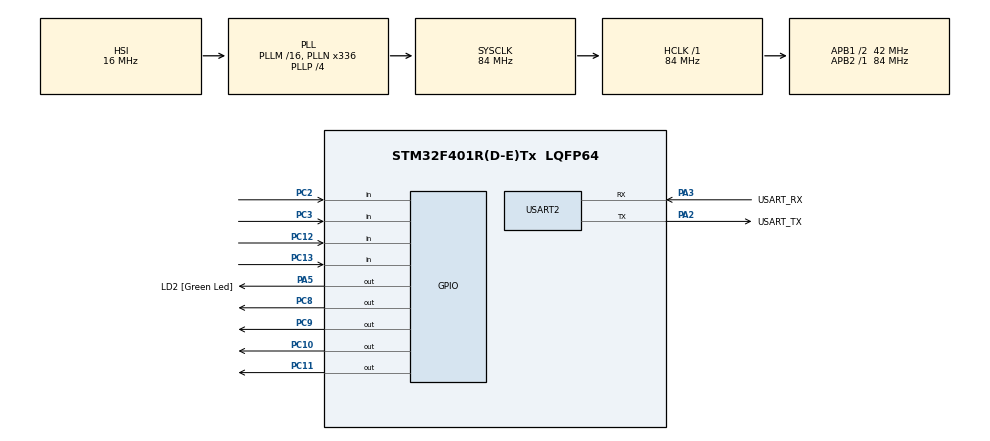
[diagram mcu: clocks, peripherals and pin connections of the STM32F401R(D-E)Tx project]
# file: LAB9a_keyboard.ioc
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Dma.Request0=USART2_TX
Dma.USART2_TX.0.Direction=DMA_MEMORY_TO_PERIPH
Dma.USART2_TX.0.FIFOMode=DMA_FIFOMODE_DISABLE
Dma.USART2_TX.0.Instance=DMA1_Stream6
Dma.USART2_TX.0.MemDataAlignment=DMA_MDATAALIGN_BYTE
Dma.USART2_TX.0.MemInc=DMA_MINC_ENABLE
Dma.USART2_TX.0.Mode=DMA_NORMAL
Dma.USART2_TX.0.PeriphDataAlignment=DMA_PDATAALIGN_BYTE
Dma.USART2_TX.0.PeriphInc=DMA_PINC_DISABLE
Dma.USART2_TX.0.Priority=DMA_PRIORITY_LOW
Mcu.Family=STM32F4
Mcu.Name=STM32F401R(D-E)Tx
Mcu.Package=LQFP64
NVIC.DMA1_Stream6_IRQn=true\:0\:0\:false\:false\:true\:false\:true\:true
NVIC.PriorityGroup=NVIC_PRIORITYGROUP_0
NVIC.USART2_IRQn=true\:0\:0\:false\:false\:true\:true\:true\:true
PA13.GPIO_Label=TMS
PA13.Mode=Serial_Wire
PA13.Signal=SYS_JTMS-SWDIO
PA14.GPIO_Label=TCK
PA14.Mode=Serial_Wire
PA14.Signal=SYS_JTCK-SWCLK
PA2.GPIO_Label=USART_TX
PA2.GPIO_Mode=GPIO_MODE_AF_PP
PA2.GPIO_PuPd=GPIO_NOPULL
PA2.GPIO_Speed=GPIO_SPEED_FREQ_LOW
PA2.Mode=Asynchronous
PA2.Signal=USART2_TX
PA3.GPIO_Label=USART_RX
PA3.GPIO_Mode=GPIO_MODE_AF_PP
PA3.GPIO_PuPd=GPIO_NOPULL
PA3.GPIO_Speed=GPIO_SPEED_FREQ_LOW
PA3.Mode=Asynchronous
PA3.Signal=USART2_RX
PA5.GPIO_Label=LD2 [Green Led]
PA5.GPIO_Mode=GPIO_MODE_OUTPUT_PP
PA5.GPIO_PuPd=GPIO_NOPULL
PA5.GPIO_Speed=GPIO_SPEED_FREQ_LOW
PA5.Signal=GPIO_Output
PB3.GPIO_Label=SWO
PB3.Signal=SYS_JTDO-SWO
PC10.Signal=GPIO_Output
PC11.Signal=GPIO_Output
PC12.Signal=GPIO_Input
PC13-ANTI_TAMP.Signal=GPIO_Input
PC14-OSC32_IN.Mode=LSE-External-Oscillator
PC14-OSC32_IN.Signal=RCC_OSC32_IN
PC15-OSC32_OUT.Mode=LSE-External-Oscillator
PC15-OSC32_OUT.Signal=RCC_OSC32_OUT
PC2.Signal=GPIO_Input
PC3.Signal=GPIO_Input
PC8.Signal=GPIO_Output
PC9.Signal=GPIO_Output
PH0\ -\ OSC_IN.Mode=HSE-External-Clock-Source
PH0\ -\ OSC_IN.Signal=RCC_OSC_IN
PH1\ -\ OSC_OUT.Mode=HSE-External-Clock-Source
PH1\ -\ OSC_OUT.Signal=RCC_OSC_OUT
ProjectManager.HeapSize=0x200
ProjectManager.StackSize=0x400
ProjectManager.TargetToolchain=STM32CubeIDE
RCC.48MHZClocksFreq_Value=48000000
RCC.AHBFreq_Value=84000000
RCC.APB1CLKDivider=RCC_HCLK_DIV2
RCC.APB1Freq_Value=42000000
RCC.APB1TimFreq_Value=84000000
RCC.APB2Freq_Value=84000000
RCC.APB2TimFreq_Value=84000000
RCC.CortexFreq_Value=84000000
RCC.HCLKFreq_Value=84000000
RCC.HSE_VALUE=8000000
RCC.HSI_VALUE=16000000
RCC.PLLN=336
RCC.PLLP=RCC_PLLP_DIV4
RCC.PLLQ=7
RCC.SYSCLKFreq_VALUE=84000000
RCC.SYSCLKSource=RCC_SYSCLKSOURCE_PLLCLK
RCC.VCOOutputFreq_Value=336000000
USART2.VirtualMode=VM_ASYNC
board=NUCLEO-F401RE

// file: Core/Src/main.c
/* USER CODE BEGIN Header */
/**
  ******************************************************************************
  * @file           : main.c
  * @brief          : Main program body
  ******************************************************************************
  * @attention
  *
  * Copyright (c) 2024 STMicroelectronics.
  * All rights reserved.
  *
  * This software is licensed under terms that can be found in the LICENSE file
  * in the root directory of this software component.
  * If no LICENSE file comes with this software, it is provided AS-IS.
  *
  ******************************************************************************
  */
/* USER CODE END Header */
#include "main.h"

/* USER CODE BEGIN PD */
#define COLUMNS_NUMBER 4
#define ROWS_NUMBER 4
#define KBOARD_DEBOUNCE_CYCLES 1 // it's 16ms per reading per each unit, one or two should be enough
#define GREEN_LED_PIN GPIOA, GPIO_PIN_5
/* USER CODE END PD */

UART_HandleTypeDef huart2;
DMA_HandleTypeDef hdma_usart2_tx;

void SystemClock_Config(void);
static void MX_GPIO_Init(void);
static void MX_DMA_Init(void);
static void MX_USART2_UART_Init(void);

int main(void)
{

  /* USER CODE BEGIN 1 */

	static const GPIO_TypeDef* columns_bank[COLUMNS_NUMBER] = {GPIOC, GPIOC, GPIOC, GPIOC};
	static const uint16_t columns_pin[COLUMNS_NUMBER] = {GPIO_PIN_9, GPIO_PIN_10, GPIO_PIN_11, GPIO_PIN_8};

	static const GPIO_TypeDef* rows_bank[ROWS_NUMBER] = {GPIOC, GPIOC, GPIOC, GPIOC};
	static const uint16_t rows_pin[ROWS_NUMBER]      = {GPIO_PIN_12, GPIO_PIN_13, GPIO_PIN_2, GPIO_PIN_3};

	GPIO_PinState keyboard[COLUMNS_NUMBER * ROWS_NUMBER] = {0};
	GPIO_PinState keyboard_old[COLUMNS_NUMBER * ROWS_NUMBER] = {0};
	int keyboard_debounce[COLUMNS_NUMBER * ROWS_NUMBER];
	const char keymap[] = "0123456789ABCDEF";

  /* USER CODE END 1 */

  /* MCU Configuration--------------------------------------------------------*/

  /* Reset of all peripherals, Initializes the Flash interface and the Systick. */
  HAL_Init();

  /* Configure the system clock */
  SystemClock_Config();

  /* Initialize all configured peripherals */
  MX_GPIO_Init();
  MX_DMA_Init();
  MX_USART2_UART_Init();

  /* Infinite loop */
  /* USER CODE BEGIN WHILE */
  while (1)
  {
	  // For every columns
	  for(int col_index = 0; col_index < COLUMNS_NUMBER; col_index++)
	  {
		  HAL_Delay(1);
		  // For every rows
	  	  for(int row_index = 0; row_index < ROWS_NUMBER; row_index++)
	  	  {
	  		  // if debounce period is over
	  		  if(keyboard_debounce[row_index * COLUMNS_NUMBER + col_index] == 0)
	  		  {
	  			  keyboard[row_index * COLUMNS_NUMBER + col_index] = HAL_GPIO_ReadPin((GPIO_TypeDef*)rows_bank[row_index], rows_pin[row_index]);
	  	  		  // Comparation between the current key pressed and the old one
	  	  		  if(keyboard[row_index * COLUMNS_NUMBER + col_index] != keyboard_old[row_index * COLUMNS_NUMBER + col_index])
	  	  		  {
	  	  			  // Check if the old key is not pressed
	  	  			  if(keyboard_old[row_index * COLUMNS_NUMBER + col_index] == 0)
	  	  			  {

	  	  				  HAL_UART_Transmit_DMA(&huart2,(uint8_t*) &keymap[row_index * COLUMNS_NUMBER + col_index], 1);
	  		  			  keyboard_debounce[row_index*COLUMNS_NUMBER+col_index] = KBOARD_DEBOUNCE_CYCLES; // Reload debounce counter
	  	  			  }
	  	  			  // Set the old keybord key to the pressed one
	  	  			  keyboard_old[row_index * COLUMNS_NUMBER + col_index] = keyboard[row_index * COLUMNS_NUMBER + col_index];
	  	  		  }
	  	  	  }
	  	  	  else
	  	  	  {
	  	  		  // Reset debounce
	  	  		  keyboard_debounce[row_index*COLUMNS_NUMBER+col_index] = 0;
	  	  	  }
	  	  }

	  	  for(int i = 0; i < COLUMNS_NUMBER; i++)
	  	  {
	  		  // This is done to maintain consistency with the "set" and "reset" defines
	  		  HAL_GPIO_WritePin((GPIO_TypeDef*)columns_bank[i], columns_pin[i], (col_index == i) ? GPIO_PIN_SET : GPIO_PIN_RESET);
	  	  }
	  }
    /* USER CODE END WHILE */

  }
}

void SystemClock_Config(void)
{
  RCC_OscInitTypeDef RCC_OscInitStruct = {0};
  RCC_ClkInitTypeDef RCC_ClkInitStruct = {0};

  /** Configure the main internal regulator output voltage
  */
  __HAL_RCC_PWR_CLK_ENABLE();
  __HAL_PWR_VOLTAGESCALING_CONFIG(PWR_REGULATOR_VOLTAGE_SCALE2);

  /** Initializes the RCC Oscillators according to the specified parameters
  * in the RCC_OscInitTypeDef structure.
  */
  RCC_OscInitStruct.OscillatorType = RCC_OSCILLATORTYPE_HSI;
  RCC_OscInitStruct.HSIState = RCC_HSI_ON;
  RCC_OscInitStruct.HSICalibrationValue = RCC_HSICALIBRATION_DEFAULT;
  RCC_OscInitStruct.PLL.PLLState = RCC_PLL_ON;
  RCC_OscInitStruct.PLL.PLLSource = RCC_PLLSOURCE_HSI;
  RCC_OscInitStruct.PLL.PLLM = 16;
  RCC_OscInitStruct.PLL.PLLN = 336;
  RCC_OscInitStruct.PLL.PLLP = RCC_PLLP_DIV4;
  RCC_OscInitStruct.PLL.PLLQ = 7;
  if (HAL_RCC_OscConfig(&RCC_OscInitStruct) != HAL_OK)
  {
    Error_Handler();
  }

  /** Initializes the CPU, AHB and APB buses clocks
  */
  RCC_ClkInitStruct.ClockType = RCC_CLOCKTYPE_HCLK|RCC_CLOCKTYPE_SYSCLK
                              |RCC_CLOCKTYPE_PCLK1|RCC_CLOCKTYPE_PCLK2;
  RCC_ClkInitStruct.SYSCLKSource = RCC_SYSCLKSOURCE_PLLCLK;
  RCC_ClkInitStruct.AHBCLKDivider = RCC_SYSCLK_DIV1;
  RCC_ClkInitStruct.APB1CLKDivider = RCC_HCLK_DIV2;
  RCC_ClkInitStruct.APB2CLKDivider = RCC_HCLK_DIV1;

  if (HAL_RCC_ClockConfig(&RCC_ClkInitStruct, FLASH_LATENCY_2) != HAL_OK)
  {
    Error_Handler();
  }
}

static void MX_USART2_UART_Init(void)
{

  huart2.Instance = USART2;
  huart2.Init.BaudRate = 115200;
  huart2.Init.WordLength = UART_WORDLENGTH_8B;
  huart2.Init.StopBits = UART_STOPBITS_1;
  huart2.Init.Parity = UART_PARITY_NONE;
  huart2.Init.Mode = UART_MODE_TX_RX;
  huart2.Init.HwFlowCtl = UART_HWCONTROL_NONE;
  huart2.Init.OverSampling = UART_OVERSAMPLING_16;
  if (HAL_UART_Init(&huart2) != HAL_OK)
  {
    Error_Handler();
  }

}

static void MX_DMA_Init(void)
{

  /* DMA controller clock enable */
  __HAL_RCC_DMA1_CLK_ENABLE();

  /* DMA interrupt init */
  /* DMA1_Stream6_IRQn interrupt configuration */
  HAL_NVIC_SetPriority(DMA1_Stream6_IRQn, 0, 0);
  HAL_NVIC_EnableIRQ(DMA1_Stream6_IRQn);

}

static void MX_GPIO_Init(void)
{
  GPIO_InitTypeDef GPIO_InitStruct = {0};

  /* GPIO Ports Clock Enable */
  __HAL_RCC_GPIOC_CLK_ENABLE();
  __HAL_RCC_GPIOH_CLK_ENABLE();
  __HAL_RCC_GPIOA_CLK_ENABLE();
  __HAL_RCC_GPIOB_CLK_ENABLE();

  /*Configure GPIO pin Output Level */
  HAL_GPIO_WritePin(LD2_GPIO_Port, LD2_Pin, GPIO_PIN_RESET);

  /*Configure GPIO pin Output Level */
  HAL_GPIO_WritePin(GPIOC, GPIO_PIN_8|GPIO_PIN_9|GPIO_PIN_10|GPIO_PIN_11, GPIO_PIN_RESET);

  /*Configure GPIO pins : PC13 PC2 PC3 PC12 */
  GPIO_InitStruct.Pin = GPIO_PIN_13|GPIO_PIN_2|GPIO_PIN_3|GPIO_PIN_12;
  GPIO_InitStruct.Mode = GPIO_MODE_INPUT;
  GPIO_InitStruct.Pull = GPIO_NOPULL;
  HAL_GPIO_Init(GPIOC, &GPIO_InitStruct);

  /*Configure GPIO pin : LD2_Pin */
  GPIO_InitStruct.Pin = LD2_Pin;
  GPIO_InitStruct.Mode = GPIO_MODE_OUTPUT_PP;
  GPIO_InitStruct.Pull = GPIO_NOPULL;
  GPIO_InitStruct.Speed = GPIO_SPEED_FREQ_LOW;
  HAL_GPIO_Init(LD2_GPIO_Port, &GPIO_InitStruct);

  /*Configure GPIO pins : PC8 PC9 PC10 PC11 */
  GPIO_InitStruct.Pin = GPIO_PIN_8|GPIO_PIN_9|GPIO_PIN_10|GPIO_PIN_11;
  GPIO_InitStruct.Mode = GPIO_MODE_OUTPUT_PP;
  GPIO_InitStruct.Pull = GPIO_NOPULL;
  GPIO_InitStruct.Speed = GPIO_SPEED_FREQ_LOW;
  HAL_GPIO_Init(GPIOC, &GPIO_InitStruct);

}

void Error_Handler(void)
{
  __disable_irq();
  while (1)
  {
  }
}
